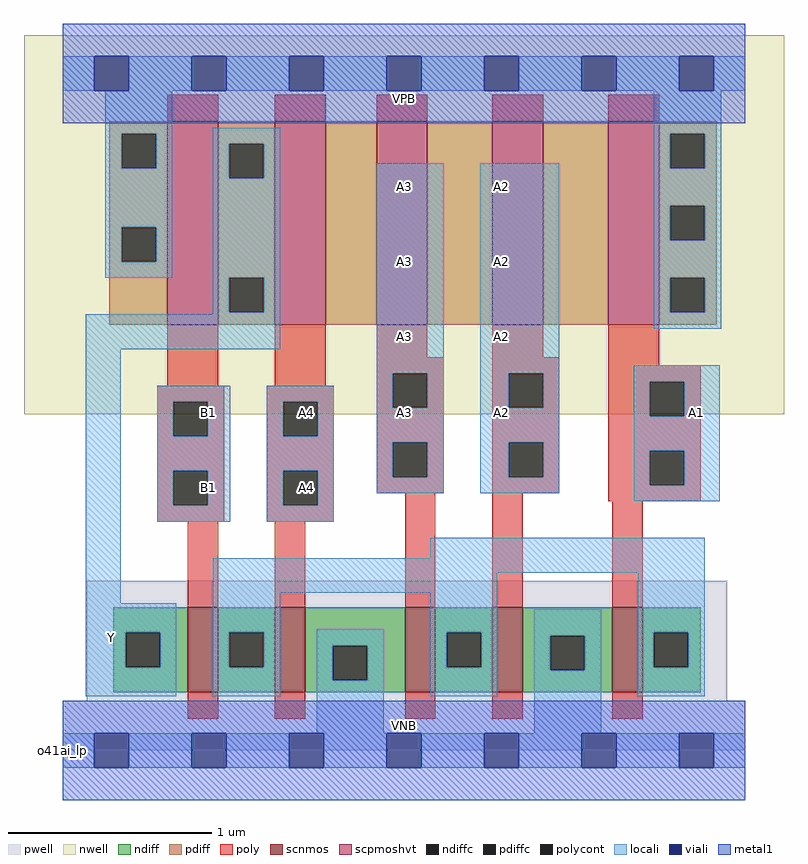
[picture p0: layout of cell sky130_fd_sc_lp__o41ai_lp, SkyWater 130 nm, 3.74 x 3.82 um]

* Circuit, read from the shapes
.subckt sky130_fd_sc_lp__o41ai_lp A1 A2 A3 A4 B1 VGND VNB VPB VPWR Y
XM1 n1 B1 Y VNB sky130_fd_pr__nfet_01v8 w=0.42 l=0.15
XM2 VGND A4 n1 VNB sky130_fd_pr__nfet_01v8 w=0.42 l=0.15
XM3 n1 A3 VGND VNB sky130_fd_pr__nfet_01v8 w=0.42 l=0.15
XM4 VGND A2 n1 VNB sky130_fd_pr__nfet_01v8 w=0.42 l=0.15
XM5 n1 A1 VGND VNB sky130_fd_pr__nfet_01v8 w=0.42 l=0.15
XM6 Y B1 VPWR VPB sky130_fd_pr__pfet_01v8_hvt w=1 l=0.25
XM7 n2 A4 Y VPB sky130_fd_pr__pfet_01v8_hvt w=1 l=0.25
XM8 n3 A3 n2 VPB sky130_fd_pr__pfet_01v8_hvt w=1 l=0.25
XM9 n4 A2 n3 VPB sky130_fd_pr__pfet_01v8_hvt w=1 l=0.25
XM10 VPWR A1 n4 VPB sky130_fd_pr__pfet_01v8_hvt w=1 l=0.25
.ends

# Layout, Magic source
magic
tech sky130A
magscale 1 2
<< nwell >>
rect -38 331 710 704
<< pwell >>
rect 24 49 654 167
rect 0 0 672 49
<< scnmos >>
rect 123 57 153 141
rect 209 57 239 141
rect 337 57 367 141
rect 423 57 453 141
rect 541 57 571 141
<< scpmoshvt >>
rect 103 419 153 619
rect 209 419 259 619
rect 309 419 359 619
rect 423 419 473 619
rect 537 419 587 619
<< ndiff >>
rect 50 116 123 141
rect 50 82 62 116
rect 96 82 123 116
rect 50 57 123 82
rect 153 116 209 141
rect 153 82 164 116
rect 198 82 209 116
rect 153 57 209 82
rect 239 103 337 141
rect 239 69 266 103
rect 300 69 337 103
rect 239 57 337 69
rect 367 116 423 141
rect 367 82 378 116
rect 412 82 423 116
rect 367 57 423 82
rect 453 113 541 141
rect 453 79 480 113
rect 514 79 541 113
rect 453 57 541 79
rect 571 116 628 141
rect 571 82 582 116
rect 616 82 628 116
rect 571 57 628 82
<< pdiff >>
rect 46 607 103 619
rect 46 573 58 607
rect 92 573 103 607
rect 46 515 103 573
rect 46 481 58 515
rect 92 481 103 515
rect 46 419 103 481
rect 153 597 209 619
rect 153 563 164 597
rect 198 563 209 597
rect 153 465 209 563
rect 153 431 164 465
rect 198 431 209 465
rect 153 419 209 431
rect 259 419 309 619
rect 359 419 423 619
rect 473 419 537 619
rect 587 607 644 619
rect 587 573 598 607
rect 632 573 644 607
rect 587 536 644 573
rect 587 502 598 536
rect 632 502 644 536
rect 587 465 644 502
rect 587 431 598 465
rect 632 431 644 465
rect 587 419 644 431
<< ndiffc >>
rect 62 82 96 116
rect 164 82 198 116
rect 266 69 300 103
rect 378 82 412 116
rect 480 79 514 113
rect 582 82 616 116
<< pdiffc >>
rect 58 573 92 607
rect 58 481 92 515
rect 164 563 198 597
rect 164 431 198 465
rect 598 573 632 607
rect 598 502 632 536
rect 598 431 632 465
<< poly >>
rect 103 619 153 645
rect 209 619 259 645
rect 309 619 359 645
rect 423 619 473 645
rect 537 619 587 645
rect 103 359 153 419
rect 209 359 259 419
rect 309 387 359 419
rect 423 387 473 419
rect 309 371 375 387
rect 93 343 159 359
rect 93 309 109 343
rect 143 309 159 343
rect 93 275 159 309
rect 93 241 109 275
rect 143 241 159 275
rect 93 225 159 241
rect 201 343 267 359
rect 201 309 217 343
rect 251 309 267 343
rect 201 275 267 309
rect 201 241 217 275
rect 251 241 267 275
rect 309 337 325 371
rect 359 337 375 371
rect 309 303 375 337
rect 309 269 325 303
rect 359 269 375 303
rect 309 253 375 269
rect 423 371 489 387
rect 423 337 439 371
rect 473 337 489 371
rect 423 303 489 337
rect 423 269 439 303
rect 473 269 489 303
rect 423 253 489 269
rect 537 379 587 419
rect 537 363 628 379
rect 537 329 578 363
rect 612 329 628 363
rect 537 295 628 329
rect 537 261 578 295
rect 612 261 628 295
rect 201 225 267 241
rect 123 141 153 225
rect 209 141 239 225
rect 337 141 367 253
rect 423 141 453 253
rect 537 245 628 261
rect 541 141 571 245
rect 123 31 153 57
rect 209 31 239 57
rect 337 31 367 57
rect 423 31 453 57
rect 541 31 571 57
<< polycont >>
rect 109 309 143 343
rect 109 241 143 275
rect 217 309 251 343
rect 217 241 251 275
rect 325 337 359 371
rect 325 269 359 303
rect 439 337 473 371
rect 439 269 473 303
rect 578 329 612 363
rect 578 261 612 295
<< locali >>
rect 0 649 31 683
rect 65 649 127 683
rect 161 649 223 683
rect 257 649 319 683
rect 353 649 415 683
rect 449 649 511 683
rect 545 649 607 683
rect 641 649 672 683
rect 42 607 108 649
rect 42 573 58 607
rect 92 573 108 607
rect 42 515 108 573
rect 42 481 58 515
rect 92 481 108 515
rect 42 465 108 481
rect 148 597 214 613
rect 148 563 164 597
rect 198 563 214 597
rect 582 607 648 649
rect 148 465 214 563
rect 148 431 164 465
rect 198 431 214 465
rect 148 429 214 431
rect 23 395 214 429
rect 23 145 57 395
rect 309 371 375 578
rect 93 343 165 359
rect 93 309 109 343
rect 143 309 165 343
rect 93 275 165 309
rect 93 241 109 275
rect 143 241 165 275
rect 93 225 165 241
rect 201 343 267 359
rect 201 309 217 343
rect 251 309 267 343
rect 201 275 267 309
rect 201 241 217 275
rect 251 241 267 275
rect 309 337 325 371
rect 359 337 375 371
rect 309 303 375 337
rect 309 269 325 303
rect 359 269 375 303
rect 309 253 375 269
rect 411 371 489 578
rect 582 573 598 607
rect 632 573 648 607
rect 582 536 648 573
rect 582 502 598 536
rect 632 502 648 536
rect 582 465 648 502
rect 582 431 598 465
rect 632 431 648 465
rect 582 415 648 431
rect 411 337 439 371
rect 473 337 489 371
rect 411 303 489 337
rect 411 269 439 303
rect 473 269 489 303
rect 411 253 489 269
rect 562 363 647 379
rect 562 329 578 363
rect 612 329 647 363
rect 562 295 647 329
rect 562 261 578 295
rect 612 261 647 295
rect 562 245 647 261
rect 201 225 267 241
rect 362 189 632 209
rect 148 175 632 189
rect 148 155 428 175
rect 23 116 112 145
rect 23 82 62 116
rect 96 82 112 116
rect 23 53 112 82
rect 148 116 214 155
rect 148 82 164 116
rect 198 82 214 116
rect 148 53 214 82
rect 250 103 316 119
rect 250 69 266 103
rect 300 69 316 103
rect 250 17 316 69
rect 362 116 428 155
rect 362 82 378 116
rect 412 82 428 116
rect 362 53 428 82
rect 464 113 530 139
rect 464 79 480 113
rect 514 79 530 113
rect 464 17 530 79
rect 566 116 632 175
rect 566 82 582 116
rect 616 82 632 116
rect 566 53 632 82
rect 0 -17 31 17
rect 65 -17 127 17
rect 161 -17 223 17
rect 257 -17 319 17
rect 353 -17 415 17
rect 449 -17 511 17
rect 545 -17 607 17
rect 641 -17 672 17
<< viali >>
rect 31 649 65 683
rect 127 649 161 683
rect 223 649 257 683
rect 319 649 353 683
rect 415 649 449 683
rect 511 649 545 683
rect 607 649 641 683
rect 31 -17 65 17
rect 127 -17 161 17
rect 223 -17 257 17
rect 319 -17 353 17
rect 415 -17 449 17
rect 511 -17 545 17
rect 607 -17 641 17
<< metal1 >>
rect 0 683 672 715
rect 0 649 31 683
rect 65 649 127 683
rect 161 649 223 683
rect 257 649 319 683
rect 353 649 415 683
rect 449 649 511 683
rect 545 649 607 683
rect 641 649 672 683
rect 0 617 672 649
rect 0 17 672 49
rect 0 -17 31 17
rect 65 -17 127 17
rect 161 -17 223 17
rect 257 -17 319 17
rect 353 -17 415 17
rect 449 -17 511 17
rect 545 -17 607 17
rect 641 -17 672 17
rect 0 -49 672 -17
<< labels >>
flabel pwell s 0 0 672 49 0 FreeSans 200 0 0 0 VNB
port 7 nsew ground bidirectional
flabel nwell s 0 617 672 666 0 FreeSans 200 0 0 0 VPB
port 8 nsew power bidirectional
rlabel comment s 0 0 0 0 4 o41ai_lp
flabel metal1 s 0 617 672 666 0 FreeSans 340 0 0 0 VPWR
port 9 nsew power bidirectional
flabel metal1 s 0 0 672 49 0 FreeSans 340 0 0 0 VGND
port 6 nsew ground bidirectional
flabel locali s 127 242 161 276 0 FreeSans 340 0 0 0 B1
port 5 nsew signal input
flabel locali s 127 316 161 350 0 FreeSans 340 0 0 0 B1
port 5 nsew signal input
flabel locali s 223 242 257 276 0 FreeSans 340 0 0 0 A4
port 4 nsew signal input
flabel locali s 223 316 257 350 0 FreeSans 340 0 0 0 A4
port 4 nsew signal input
flabel locali s 319 316 353 350 0 FreeSans 340 0 0 0 A3
port 3 nsew signal input
flabel locali s 319 390 353 424 0 FreeSans 340 0 0 0 A3
port 3 nsew signal input
flabel locali s 319 464 353 498 0 FreeSans 340 0 0 0 A3
port 3 nsew signal input
flabel locali s 319 538 353 572 0 FreeSans 340 0 0 0 A3
port 3 nsew signal input
flabel locali s 607 316 641 350 0 FreeSans 340 0 0 0 A1
port 1 nsew signal input
flabel locali s 415 316 449 350 0 FreeSans 340 0 0 0 A2
port 2 nsew signal input
flabel locali s 415 390 449 424 0 FreeSans 340 0 0 0 A2
port 2 nsew signal input
flabel locali s 415 464 449 498 0 FreeSans 340 0 0 0 A2
port 2 nsew signal input
flabel locali s 415 538 449 572 0 FreeSans 340 0 0 0 A2
port 2 nsew signal input
flabel locali s 31 94 65 128 0 FreeSans 340 0 0 0 Y
port 10 nsew signal output
<< properties >>
string LEFsite unit
string LEFclass CORE
string FIXED_BBOX 0 0 672 666
string GDS_FILE $PDKPATH/libs.ref/sky130_fd_sc_lp/gds/sky130_fd_sc_lp.gds
string LEFsymmetry X Y R90
string GDS_END 6556750
string GDS_START 6549740
<< end >>
